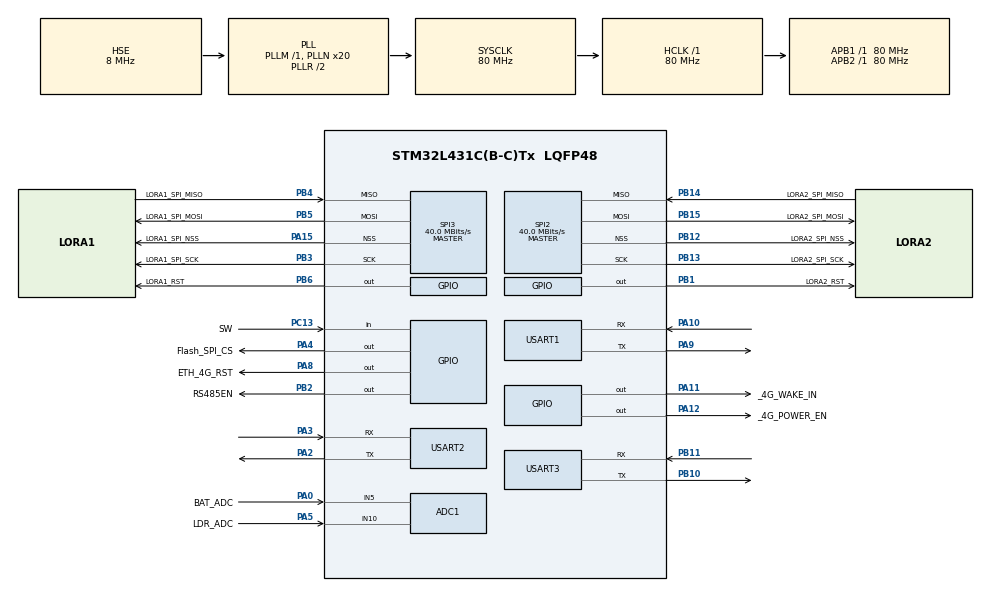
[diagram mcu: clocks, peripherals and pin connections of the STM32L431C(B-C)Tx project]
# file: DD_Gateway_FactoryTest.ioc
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ADC1.Channel-0\#ChannelRegularConversion=ADC_CHANNEL_5
ADC1.NbrOfConversionFlag=1
ADC1.OffsetNumber-0\#ChannelRegularConversion=ADC_OFFSET_NONE
ADC1.Rank-0\#ChannelRegularConversion=1
ADC1.SamplingTime-0\#ChannelRegularConversion=ADC_SAMPLETIME_2CYCLES_5
ADC1.master=1
Mcu.Family=STM32L4
Mcu.Name=STM32L431C(B-C)Tx
Mcu.Package=LQFP48
NVIC.PriorityGroup=NVIC_PRIORITYGROUP_2
NVIC.SPI2_IRQn=true\:2\:0\:true\:false\:true\:true\:true
NVIC.SPI3_IRQn=true\:2\:0\:true\:false\:true\:true\:true
NVIC.USART1_IRQn=true\:1\:0\:true\:false\:true\:true\:true
NVIC.USART2_IRQn=true\:2\:0\:true\:false\:true\:true\:true
NVIC.USART3_IRQn=true\:1\:1\:true\:false\:true\:true\:true
PA0.GPIO_Label=BAT_ADC
PA0.Signal=ADCx_IN5
PA10.Mode=Asynchronous
PA10.Signal=USART1_RX
PA11.GPIO_Label=_4G_WAKE_IN
PA11.Signal=GPIO_Output
PA12.GPIO_Label=_4G_POWER_EN
PA12.Signal=GPIO_Output
PA13\ (JTMS-SWDIO).Mode=Serial_Wire
PA13\ (JTMS-SWDIO).Signal=SYS_JTMS-SWDIO
PA14\ (JTCK-SWCLK).Mode=Serial_Wire
PA14\ (JTCK-SWCLK).Signal=SYS_JTCK-SWCLK
PA15\ (JTDI).GPIO_Label=LORA1_SPI_NSS
PA15\ (JTDI).Mode=NSS_Signal_Hard_Output
PA15\ (JTDI).Signal=SPI3_NSS
PA2.Mode=Asynchronous
PA2.Signal=USART2_TX
PA3.Mode=Asynchronous
PA3.Signal=USART2_RX
PA4.GPIO_Label=Flash_SPI_CS
PA4.Signal=GPIO_Output
PA5.GPIO_Label=LDR_ADC
PA5.Signal=ADCx_IN10
PA8.GPIO_Label=ETH_4G_RST
PA8.Signal=GPIO_Output
PA9.Mode=Asynchronous
PA9.Signal=USART1_TX
PB1.GPIO_Label=LORA2_RST
PB1.Signal=GPIO_Output
PB10.Mode=Asynchronous
PB10.Signal=USART3_TX
PB11.Mode=Asynchronous
PB11.Signal=USART3_RX
PB12.GPIO_Label=LORA2_SPI_NSS
PB12.Mode=NSS_Signal_Hard_Output
PB12.Signal=SPI2_NSS
PB13.GPIO_Label=LORA2_SPI_SCK
PB13.Mode=Full_Duplex_Master
PB13.Signal=SPI2_SCK
PB14.GPIO_Label=LORA2_SPI_MISO
PB14.Mode=Full_Duplex_Master
PB14.Signal=SPI2_MISO
PB15.GPIO_Label=LORA2_SPI_MOSI
PB15.Mode=Full_Duplex_Master
PB15.Signal=SPI2_MOSI
PB2.GPIO_Label=RS485EN
PB2.Signal=GPIO_Output
PB3\ (JTDO-TRACESWO).GPIO_Label=LORA1_SPI_SCK
PB3\ (JTDO-TRACESWO).Mode=Full_Duplex_Master
PB3\ (JTDO-TRACESWO).Signal=SPI3_SCK
PB4\ (NJTRST).GPIO_Label=LORA1_SPI_MISO
PB4\ (NJTRST).Mode=Full_Duplex_Master
PB4\ (NJTRST).Signal=SPI3_MISO
PB5.GPIO_Label=LORA1_SPI_MOSI
PB5.Mode=Full_Duplex_Master
PB5.Signal=SPI3_MOSI
PB6.GPIO_Label=LORA1_RST
PB6.Signal=GPIO_Output
PC13.GPIO_Label=SW
PC13.Signal=GPIO_Input
PH0-OSC_IN\ (PH0).Mode=HSE-External-Oscillator
PH0-OSC_IN\ (PH0).Signal=RCC_OSC_IN
PH1-OSC_OUT\ (PH1).Mode=HSE-External-Oscillator
PH1-OSC_OUT\ (PH1).Signal=RCC_OSC_OUT
ProjectManager.HeapSize=0x400
ProjectManager.StackSize=0x400
ProjectManager.TargetToolchain=Makefile
RCC.ADCFreq_Value=32000000
RCC.AHBFreq_Value=80000000
RCC.APB1Freq_Value=80000000
RCC.APB1TimFreq_Value=80000000
RCC.APB2Freq_Value=80000000
RCC.APB2TimFreq_Value=80000000
RCC.CortexFreq_Value=80000000
RCC.HCLKFreq_Value=80000000
RCC.HSE_VALUE=8000000
RCC.HSI48_VALUE=48000000
RCC.HSI_VALUE=16000000
RCC.LSE_VALUE=32768
RCC.MSI_VALUE=4000000
RCC.PLLN=20
RCC.PLLSourceVirtual=RCC_PLLSOURCE_HSE
RCC.SYSCLKFreq_VALUE=80000000
RCC.SYSCLKSource=RCC_SYSCLKSOURCE_PLLCLK
RCC.VCOOutputFreq_Value=160000000
SH.ADCx_IN10.0=ADC1_IN10,IN10-Single-Ended
SH.ADCx_IN5.0=ADC1_IN5,IN5-Single-Ended
SPI2.CalculateBaudRate=40.0 MBits/s
SPI2.DataSize=SPI_DATASIZE_8BIT
SPI2.Direction=SPI_DIRECTION_2LINES
SPI2.Mode=SPI_MODE_MASTER
SPI2.VirtualNSS=VM_NSSHARD
SPI2.VirtualType=VM_MASTER
SPI3.CalculateBaudRate=40.0 MBits/s
SPI3.DataSize=SPI_DATASIZE_8BIT
SPI3.Direction=SPI_DIRECTION_2LINES
SPI3.Mode=SPI_MODE_MASTER
SPI3.TIMode=SPI_TIMODE_DISABLE
SPI3.VirtualNSS=VM_NSSHARD
SPI3.VirtualType=VM_MASTER
USART1.VirtualMode-Asynchronous=VM_ASYNC
USART2.VirtualMode-Asynchronous=VM_ASYNC
USART3.VirtualMode-Asynchronous=VM_ASYNC
board=custom

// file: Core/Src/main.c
/* USER CODE BEGIN Header */
/**
  ******************************************************************************
  * @file           : main.c
  * @brief          : Main program body
  ******************************************************************************
  * @attention
  *
  * Copyright (c) 2023 STMicroelectronics.
  * All rights reserved.
  *
  * This software is licensed under terms that can be found in the LICENSE file
  * in the root directory of this software component.
  * If no LICENSE file comes with this software, it is provided AS-IS.
  *
  ******************************************************************************
  */
/* USER CODE END Header */
#include "main.h"
#include "led.h"
#include "adc.h"
#include "spi.h"
#include "usart.h"
#include "gpio.h"
#include "timer.h"
#include "math.h"

/* USER CODE BEGIN Includes */
#include "shell_port.h"
#include "stdint.h"
#include <stdio.h>
#include <string.h>
#include <stdarg.h>
#include "rs485.h"
#include "W25QXX.h"
#include "ATGM332D.h"
#include "EC2x.h"
#include "SX1278.h"
// #include "y_lora.h"

/* USER CODE END Includes */

void SystemClock_Config(void);
/* USER CODE BEGIN PFP */
void DeviceID_Print(void);
/* USER CODE END PFP */

int main(void)
{

  /* MCU Configuration--------------------------------------------------------*/

  /* Reset of all peripherals, Initializes the Flash interface and the Systick. */

  HAL_Init();

  /* USER CODE BEGIN Init */
  timer_init();//定时事件列表初始化，需要在时基更新函数运行之前进行
  /* USER CODE END Init */

  /* Configure the system clock */
  SystemClock_Config();

  /* Initialize all configured peripherals */
  MX_GPIO_Init();
  LED_Init(&dev_led[0]);
  LED_Init(&dev_led[1]);
  MX_ADC1_Init();
  MX_SPI2_Init();
  MX_SPI3_Init();
  MX_USART1_UART_Init();
  MX_USART2_UART_Init();
  MX_USART3_UART_Init();
  /* USER CODE BEGIN 2 */
  /* TODO:fix shell initialize */
  User_Shell_Init();
  BSP_W25Qx_Init();
  bds_dev = atgm_open("uart2/bds_0");
  ec2x_open("uart1/ec200s");

  //Lora_Init();
  SX1278_init(&Lora_dev[0], Lora_dev[0].frequency, Lora_dev[0].power,
		Lora_dev[0].LoRa_SF, Lora_dev[0].LoRa_BW, Lora_dev[0].LoRa_CR,
		Lora_dev[0].LoRa_CRC_sum, Lora_dev[0].packetLength);
   SX1278_receive(&Lora_dev[0], 100, 500);
  SX1278_init(&Lora_dev[1], Lora_dev[1].frequency, Lora_dev[0].power,
		Lora_dev[0].LoRa_SF, Lora_dev[0].LoRa_BW, Lora_dev[0].LoRa_CR,
		Lora_dev[0].LoRa_CRC_sum, Lora_dev[0].packetLength);
   SX1278_receive(&Lora_dev[1], 100, 500);
  /* USER CODE END 2 */

  /* Infinite loop */
  /* USER CODE BEGIN WHILE */

  while (1)
  {
    // uint16_t shellidle_upper = 30;
    /* USER CODE END WHILE */
    /*电量LED D6 D7*/
    LED_On(&dev_led[0]);
    LED_On(&dev_led[1]);
    /*Mac地址打印*/
    DeviceID_Print();
    /* ADC 电压监测接口测试*/
    Battery_Test();
    /* LED 测试 */
    // LED_Blink(&dev_led[0],500,10); //LED0每隔500ms翻转一次
    // LED_Blink(&dev_led[1],1000,10);//LED1每个1000ms翻转一次
    /* 亮度监测接口测试 */
    LDR_Value_Get();
    /* RS485接口测试 */
    RS485_Test("RS485 TRANSMIT OK\r\n");
     /* Flash 接口测试 */
    Flash_Test();
    /* ATGM223D接口测试 */
    BDS_Test("read",100);
     /* LORA 1发送 LORA2 接收测试*/

    LORA_Send(1,"Lora1 tx test\r\n",200);
    Delay_ms(500);
    if(strstr(lora_cache[0],"Lora1 tx test\r\n") != NULL)
    {
      shellPrint(&shell,"Lora2 RX Test OK\r\n");
      test_ok_cnt++;
    }
    else
      shellPrint(&shell,"Lora2 RX Test Failed\r\n");
     /* LORA2发送 LORA1 接收测试*/
    LORA_Send(0,"Lora2 tx test\r\n",200);
    Delay_ms(500);
     if(strstr(lora_cache[1],"Lora2 tx test\r\n") != NULL)
    {
      shellPrint(&shell,"Lora1 RX Test OK\r\n");
      test_ok_cnt++;
    }
    else
      shellPrint(&shell,"Lora1 RX Test Failed\r\n");
     /* Cat-1 测试 */
    EC2x_Test(0,"AT","OK",500);
    shellPrint(&shell,"Test OK Count:%d/8\r\n",test_ok_cnt);

    shellPrint(&shell,"Type [help] for the list of instructions\r\n");
    Delay_ms(500);
    ec2x_tcp_connect(0);
    while(1){
      // shellidle_cnt++;
      // if((shellidle_cnt > 10*10)&&(shellidle_cnt % 10 == 0)){
      //   shellPrint(&shell,"If no instruction is entered within %ds, it will jump to the app program\r\n", shellidle_upper - shellidle_cnt/10);
      // }
      // if(shellidle_cnt > shellidle_upper*10)
      // {
      //    shellPrint(&shell,"It will jump to the app program now\r\n");
      //    shellidle_cnt = 0;
      // }
      Delay_ms(100);
    }
  }
}
/* USER CODE BEGIN 4 */
/**
 * @brief
 *
 * @param fd
 * @param tx_buff
 * @param expect_reply
 * @param timeout
 */
void Test_All(void)
{
    test_ok_cnt = 0;
        /* USER CODE END WHILE */
    /* ADC 电压监测接口测试*/
    Battery_Test();
    /* LED 测试 */
    // LED_Blink(&dev_led[0],500,10); //LED0每隔500ms翻转一次
    // LED_Blink(&dev_led[1],1000,10);//LED1每个1000ms翻转一次
    /* 亮度监测接口测试 */
    LDR_Value_Get();
    /* RS485接口测试 */
    RS485_Test("RS485 TRANSMIT OK\r\n");
     /* Flash 接口测试 */
    Flash_Test();
    /* ATGM223D接口测试 */
    BDS_Test("read",100);
      /* LORA1发送 LORA2 接收测试*/
    LORA_Send(1,"Lora1 tx test\r\n",200);
    Delay_ms(500);
    if(strstr(lora_cache[0],"Lora1 tx test\r\n") != NULL)
    {
      shellPrint(&shell,"Lora2 RX Test OK\r\n");
      test_ok_cnt++;
    }
    else
      shellPrint(&shell,"Lora2 RX Test Failed\r\n");
     /* LORA2发送 LORA1 接收测试*/
    LORA_Send(0,"Lora2 tx test\r\n",200);
    Delay_ms(500);
     if(strstr(lora_cache[1],"Lora2 tx test\r\n") != NULL)
    {
      shellPrint(&shell,"Lora1 RX Test OK\r\n");
      test_ok_cnt++;
    }
    else
      shellPrint(&shell,"Lora1 RX Test Failed\r\n");

     /* Cat-1 测试 */
    EC2x_Test(0,"AT","OK",500);
    Delay_ms(100);
    shellPrint(&shell,"Test OK Count:%d/8\r\n",test_ok_cnt);
}

SHELL_EXPORT_CMD(
SHELL_CMD_PERMISSION(0)|SHELL_CMD_TYPE(SHELL_TYPE_CMD_FUNC)|SHELL_CMD_DISABLE_RETURN,
test_all, Test_All, test all device);

/**
 * @brief printf Device ID 8bytes
 *
 */
void DeviceID_Print(void){
    int i = 0;
    shellPrint(&shell,"MAC:");

    for(i = 0;i < 2 ;++i){
      uint32_t u32_mac = 0xffff;
      u32_mac = *((uint32_t *)(0x1FFF7594 - i * 4));
      //shellPrint(&shell,"%x",u32_mac);
      shellPrint(&shell,"%02x",(uint8_t)(u32_mac >> 24));
      shellPrint(&shell,"%02x",(uint8_t)(u32_mac >> 16));
      shellPrint(&shell,"%02x",(uint8_t)(u32_mac >> 8));
      shellPrint(&shell,"%02x",(uint8_t)(u32_mac ));
    }
    shellPrint(&shell,"\r\n");
}

SHELL_EXPORT_CMD(
SHELL_CMD_PERMISSION(0)|SHELL_CMD_TYPE(SHELL_TYPE_CMD_FUNC)|SHELL_CMD_DISABLE_RETURN,
mac_print, DeviceID_Print, printf mac_id);
/**
  * @brief System Clock Configuration
  * @retval None
  */
void SystemClock_Config(void)
{
  RCC_OscInitTypeDef RCC_OscInitStruct = {0};
  RCC_ClkInitTypeDef RCC_ClkInitStruct = {0};

  /** Configure the main internal regulator output voltage
  */
  if (HAL_PWREx_ControlVoltageScaling(PWR_REGULATOR_VOLTAGE_SCALE1) != HAL_OK)
  {
    Error_Handler();
  }
  /** Initializes the RCC Oscillators according to the specified parameters
  * in the RCC_OscInitTypeDef structure.
  */
  RCC_OscInitStruct.OscillatorType = RCC_OSCILLATORTYPE_HSE;
  RCC_OscInitStruct.HSEState = RCC_HSE_ON;
  RCC_OscInitStruct.PLL.PLLState = RCC_PLL_ON;
  RCC_OscInitStruct.PLL.PLLSource = RCC_PLLSOURCE_HSE;
  RCC_OscInitStruct.PLL.PLLM = 1;
  RCC_OscInitStruct.PLL.PLLN = 20;
  RCC_OscInitStruct.PLL.PLLP = RCC_PLLP_DIV7;
  RCC_OscInitStruct.PLL.PLLQ = RCC_PLLQ_DIV2;
  RCC_OscInitStruct.PLL.PLLR = RCC_PLLR_DIV2;
  if (HAL_RCC_OscConfig(&RCC_OscInitStruct) != HAL_OK)
  {
    Error_Handler();
  }
  /** Initializes the CPU, AHB and APB buses clocks
  */
  RCC_ClkInitStruct.ClockType = RCC_CLOCKTYPE_HCLK|RCC_CLOCKTYPE_SYSCLK
                              |RCC_CLOCKTYPE_PCLK1|RCC_CLOCKTYPE_PCLK2;
  RCC_ClkInitStruct.SYSCLKSource = RCC_SYSCLKSOURCE_PLLCLK;
  RCC_ClkInitStruct.AHBCLKDivider = RCC_SYSCLK_DIV1;
  RCC_ClkInitStruct.APB1CLKDivider = RCC_HCLK_DIV1;
  RCC_ClkInitStruct.APB2CLKDivider = RCC_HCLK_DIV1;

  if (HAL_RCC_ClockConfig(&RCC_ClkInitStruct, FLASH_LATENCY_4) != HAL_OK)
  {
    Error_Handler();
  }
}
/* USER CODE END 4 */

void Error_Handler(void)
{
  __disable_irq();
  while (1)
  {
  }
}
